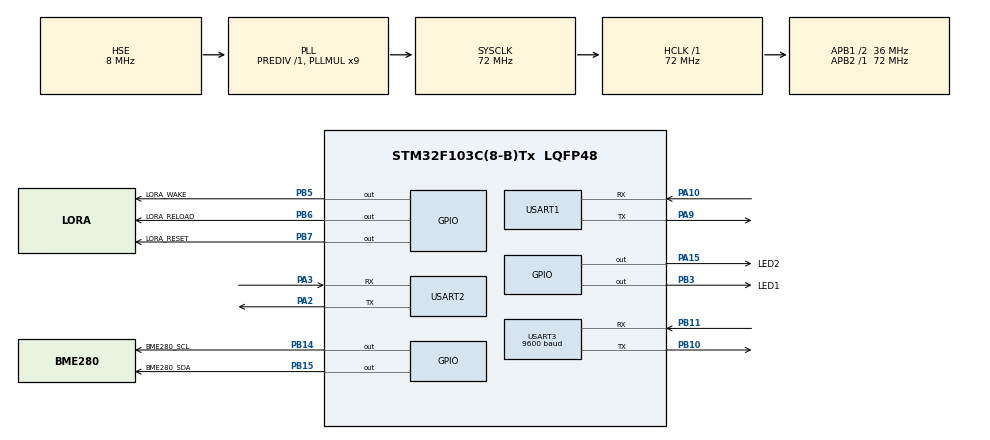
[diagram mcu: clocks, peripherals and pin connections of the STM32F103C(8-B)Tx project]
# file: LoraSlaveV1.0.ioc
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FREERTOS.Tasks01=defaultTask,0,256,StartDefaultTask,Default,NULL,Static,defaultTaskStack,defaultTaskControl;LoRaTask,1,256,StartLoRaTask,Default,NULL,Static,loRaTaskStack,loRaTaskControl;DGUSTask,-2,128,StartDGUSTask,Default,NULL,Static,dgusTaskStack,dgusTaskControl;ModBusTask,1,256,StartModBusTask,Default,NULL,Static,modBusTaskStack,modBusTaskControl;BME280Task,-2,256,StartBME280Task,Default,NULL,Static,bme280TaskStack,bme280TaskControl
Mcu.Family=STM32F1
Mcu.Name=STM32F103C(8-B)Tx
Mcu.Package=LQFP48
NVIC.PriorityGroup=NVIC_PRIORITYGROUP_4
NVIC.TIM1_UP_IRQn=true\:15\:0\:false\:false\:true\:false\:false\:true\:true
NVIC.TIM2_IRQn=true\:5\:0\:false\:false\:true\:true\:true\:true\:true
NVIC.TIM4_IRQn=true\:5\:0\:false\:false\:true\:true\:true\:true\:true
NVIC.TimeBase=TIM1_UP_IRQn
NVIC.TimeBaseIP=TIM1
NVIC.USART1_IRQn=true\:5\:0\:false\:false\:true\:true\:true\:true\:true
NVIC.USART2_IRQn=true\:5\:0\:false\:false\:true\:true\:true\:true\:true
NVIC.USART3_IRQn=true\:5\:0\:false\:false\:true\:true\:true\:true\:true
PA10.Mode=Asynchronous
PA10.Signal=USART1_RX
PA13.Mode=Serial_Wire
PA13.Signal=SYS_JTMS-SWDIO
PA14.Mode=Serial_Wire
PA14.Signal=SYS_JTCK-SWCLK
PA15.GPIO_Label=LED2
PA15.GPIO_ModeDefaultOutputPP=GPIO_MODE_OUTPUT_PP
PA15.GPIO_PuPd=GPIO_NOPULL
PA15.GPIO_Speed=GPIO_SPEED_FREQ_LOW
PA15.PinState=GPIO_PIN_SET
PA15.Signal=GPIO_Output
PA2.Mode=Asynchronous
PA2.Signal=USART2_TX
PA3.Mode=Asynchronous
PA3.Signal=USART2_RX
PA9.Mode=Asynchronous
PA9.Signal=USART1_TX
PB10.Mode=Asynchronous
PB10.Signal=USART3_TX
PB11.Mode=Asynchronous
PB11.Signal=USART3_RX
PB14.GPIO_Label=BME280_SCL
PB14.GPIO_ModeDefaultOutputPP=GPIO_MODE_OUTPUT_OD
PB14.GPIO_PuPd=GPIO_NOPULL
PB14.GPIO_Speed=GPIO_SPEED_FREQ_HIGH
PB14.PinState=GPIO_PIN_SET
PB14.Signal=GPIO_Output
PB15.GPIO_Label=BME280_SDA
PB15.GPIO_ModeDefaultOutputPP=GPIO_MODE_OUTPUT_OD
PB15.GPIO_PuPd=GPIO_NOPULL
PB15.GPIO_Speed=GPIO_SPEED_FREQ_HIGH
PB15.PinState=GPIO_PIN_SET
PB15.Signal=GPIO_Output
PB3.GPIO_Label=LED1
PB3.GPIO_ModeDefaultOutputPP=GPIO_MODE_OUTPUT_PP
PB3.GPIO_PuPd=GPIO_NOPULL
PB3.GPIO_Speed=GPIO_SPEED_FREQ_LOW
PB3.PinState=GPIO_PIN_SET
PB3.Signal=GPIO_Output
PB5.GPIO_Label=LORA_WAKE
PB5.GPIO_ModeDefaultOutputPP=GPIO_MODE_OUTPUT_OD
PB5.GPIO_PuPd=GPIO_NOPULL
PB5.GPIO_Speed=GPIO_SPEED_FREQ_HIGH
PB5.PinState=GPIO_PIN_SET
PB5.Signal=GPIO_Output
PB6.GPIO_Label=LORA_RELOAD
PB6.GPIO_ModeDefaultOutputPP=GPIO_MODE_OUTPUT_OD
PB6.GPIO_PuPd=GPIO_NOPULL
PB6.GPIO_Speed=GPIO_SPEED_FREQ_HIGH
PB6.PinState=GPIO_PIN_SET
PB6.Signal=GPIO_Output
PB7.GPIO_Label=LORA_RESET
PB7.GPIO_ModeDefaultOutputPP=GPIO_MODE_OUTPUT_OD
PB7.GPIO_PuPd=GPIO_NOPULL
PB7.GPIO_Speed=GPIO_SPEED_FREQ_HIGH
PB7.PinState=GPIO_PIN_SET
PB7.Signal=GPIO_Output
PD0-OSC_IN.Mode=HSE-External-Oscillator
PD0-OSC_IN.Signal=RCC_OSC_IN
PD1-OSC_OUT.Mode=HSE-External-Oscillator
PD1-OSC_OUT.Signal=RCC_OSC_OUT
ProjectManager.HeapSize=0x200
ProjectManager.StackSize=0x400
ProjectManager.TargetToolchain=MDK-ARM V5.32
RCC.AHBFreq_Value=72000000
RCC.APB1CLKDivider=RCC_HCLK_DIV2
RCC.APB1Freq_Value=36000000
RCC.APB1TimFreq_Value=72000000
RCC.APB2Freq_Value=72000000
RCC.APB2TimFreq_Value=72000000
RCC.HCLKFreq_Value=72000000
RCC.PLLMUL=RCC_PLL_MUL9
RCC.PLLSourceVirtual=RCC_PLLSOURCE_HSE
RCC.SYSCLKFreq_VALUE=72000000
RCC.SYSCLKSource=RCC_SYSCLKSOURCE_PLLCLK
RCC.USBFreq_Value=72000000
TIM2.Period=5000-1
TIM2.Prescaler=7200-1
TIM4.AutoReloadPreload=TIM_AUTORELOAD_PRELOAD_DISABLE
TIM4.Period=1000-1
TIM4.Prescaler=72-1
USART1.VirtualMode=VM_ASYNC
USART1.WordLength=WORDLENGTH_8B
USART2.VirtualMode=VM_ASYNC
USART2.WordLength=WORDLENGTH_8B
USART3.BaudRate=9600
USART3.VirtualMode=VM_ASYNC
VP_FREERTOS_VS_CMSIS_V1.Mode=CMSIS_V1
VP_SYS_VS_tim1.Mode=TIM1
VP_TIM2_VS_ClockSourceINT.Mode=Internal
VP_TIM4_VS_ClockSourceINT.Mode=Internal
board=custom

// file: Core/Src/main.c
/* USER CODE BEGIN Header */
/**
  ******************************************************************************
  * @file           : main.c
  * @brief          : Main program body
  ******************************************************************************
  * @attention
  *
  * Copyright (c) 2024 STMicroelectronics.
  * All rights reserved.
  *
  * This software is licensed under terms that can be found in the LICENSE file
  * in the root directory of this software component.
  * If no LICENSE file comes with this software, it is provided AS-IS.
  *
  ******************************************************************************
  */
/* USER CODE END Header */
#include "main.h"
#include "cmsis_os.h"
#include "tim.h"
#include "usart.h"
#include "gpio.h"

/* USER CODE BEGIN Includes */
#include "stdio.h"
#include "string.h"
#include "lora.h"
#include "DGUS.h"
#include "master_identity.h"
/* USER CODE END Includes */

/* USER CODE BEGIN PV */
uint8_t uart3_rx_data;  /* 串口 3 接收数据变量 */

/* USER CODE END PV */

void SystemClock_Config(void);
void MX_FREERTOS_Init(void);

int main(void)
{

  /* MCU Configuration--------------------------------------------------------*/

  /* Reset of all peripherals, Initializes the Flash interface and the Systick. */
  HAL_Init();

  /* Configure the system clock */
  SystemClock_Config();

  /* Initialize all configured peripherals */
  MX_GPIO_Init();
  MX_TIM4_Init();
  MX_TIM2_Init();
  MX_USART1_UART_Init();
  MX_USART2_UART_Init();
  MX_USART3_UART_Init();
  /* USER CODE BEGIN 2 */
  HAL_UART_Receive_IT(&huart3,&uart3_rx_data,1);    // 开启串口3接受中断——RS485
  HAL_UART_Receive_IT(&huart2,&rx2_data,1);   // uart2 接受中断开启——LoRa
  HAL_UART_Receive_IT(&huart1,&rx1_data,1);   // uart1 接收中断——串口屏

  led1_off();
  led2_off();
  /* 当前联调固定为 M1；拨码组号功能待 M1 链路跑通后再恢复。 */
  MasterIdentity_Init(1U);
  LORA_Init();      // LORA 参数初始化
  /* USER CODE END 2 */

  /* Call init function for freertos objects (in cmsis_os2.c) */
  MX_FREERTOS_Init();

  /* Start scheduler */
  osKernelStart();

  /* We should never get here as control is now taken by the scheduler */

  /* Infinite loop */
  while (1)
  {

  }
}

void SystemClock_Config(void)
{
  RCC_OscInitTypeDef RCC_OscInitStruct = {0};
  RCC_ClkInitTypeDef RCC_ClkInitStruct = {0};

  /** Initializes the RCC Oscillators according to the specified parameters
  * in the RCC_OscInitTypeDef structure.
  */
  RCC_OscInitStruct.OscillatorType = RCC_OSCILLATORTYPE_HSE;
  RCC_OscInitStruct.HSEState = RCC_HSE_ON;
  RCC_OscInitStruct.HSEPredivValue = RCC_HSE_PREDIV_DIV1;
  RCC_OscInitStruct.HSIState = RCC_HSI_ON;
  RCC_OscInitStruct.PLL.PLLState = RCC_PLL_ON;
  RCC_OscInitStruct.PLL.PLLSource = RCC_PLLSOURCE_HSE;
  RCC_OscInitStruct.PLL.PLLMUL = RCC_PLL_MUL9;
  if (HAL_RCC_OscConfig(&RCC_OscInitStruct) != HAL_OK)
  {
    Error_Handler();
  }

  /** Initializes the CPU, AHB and APB buses clocks
  */
  RCC_ClkInitStruct.ClockType = RCC_CLOCKTYPE_HCLK|RCC_CLOCKTYPE_SYSCLK
                              |RCC_CLOCKTYPE_PCLK1|RCC_CLOCKTYPE_PCLK2;
  RCC_ClkInitStruct.SYSCLKSource = RCC_SYSCLKSOURCE_PLLCLK;
  RCC_ClkInitStruct.AHBCLKDivider = RCC_SYSCLK_DIV1;
  RCC_ClkInitStruct.APB1CLKDivider = RCC_HCLK_DIV2;
  RCC_ClkInitStruct.APB2CLKDivider = RCC_HCLK_DIV1;

  if (HAL_RCC_ClockConfig(&RCC_ClkInitStruct, FLASH_LATENCY_2) != HAL_OK)
  {
    Error_Handler();
  }
}

void HAL_TIM_PeriodElapsedCallback(TIM_HandleTypeDef *htim)
{
  if (htim->Instance == TIM1) {
    HAL_IncTick();
  }
}

void Error_Handler(void)
{
  __disable_irq();
  while (1)
  {
  }
}

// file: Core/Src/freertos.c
/* USER CODE BEGIN Header */
/**
  ******************************************************************************
  * File Name          : freertos.c
  * Description        : Code for freertos applications
  ******************************************************************************
  * @attention
  *
  * Copyright (c) 2025 STMicroelectronics.
  * All rights reserved.
  *
  * This software is licensed under terms that can be found in the LICENSE file
  * in the root directory of this software component.
  * If no LICENSE file comes with this software, it is provided AS-IS.
  *
  ******************************************************************************
  */
/* USER CODE END Header */

#include "FreeRTOS.h"
#include "task.h"
#include "main.h"
#include "cmsis_os.h"

/* USER CODE BEGIN Includes */
#include "stdio.h"
#include "string.h"
#include "lora.h"
#include "modbus_async.h"
#include "DGUS.h"
#include "master_queues.h"
#include "master_runtime.h"
#include "BME280.h"
#include "rain_monitor.h"

/* USER CODE END Includes */

/* USER CODE BEGIN Variables */
static uint32_t defaultTaskStack[256];
static osStaticThreadDef_t defaultTaskControl;
static uint32_t loRaTaskStack[256];
static osStaticThreadDef_t loRaTaskControl;
static uint32_t dgusTaskStack[128];
static osStaticThreadDef_t dgusTaskControl;
static uint32_t modBusTaskStack[256];
static osStaticThreadDef_t modBusTaskControl;
static uint32_t bme280TaskStack[256];
static osStaticThreadDef_t bme280TaskControl;
static RainMonitor rain_monitor;

/* USER CODE END Variables */
osThreadId defaultTaskHandle;
osThreadId LoRaTaskHandle;
osThreadId DGUSTaskHandle;
osThreadId ModBusTaskHandle;
osThreadId BME280TaskHandle;

void StartDefaultTask(void const * argument);
void StartLoRaTask(void const * argument);
void StartDGUSTask(void const * argument);
void StartModBusTask(void const * argument);
void StartBME280Task(void const * argument);

void MX_FREERTOS_Init(void); /* (MISRA C 2004 rule 8.1) */

/* GetIdleTaskMemory prototype (linked to static allocation support) */
void vApplicationGetIdleTaskMemory( StaticTask_t **ppxIdleTaskTCBBuffer, StackType_t **ppxIdleTaskStackBuffer, uint32_t *pulIdleTaskStackSize );

/* USER CODE BEGIN GET_IDLE_TASK_MEMORY */
static StaticTask_t xIdleTaskTCBBuffer;
static StackType_t xIdleStack[configMINIMAL_STACK_SIZE];

void vApplicationGetIdleTaskMemory( StaticTask_t **ppxIdleTaskTCBBuffer, StackType_t **ppxIdleTaskStackBuffer, uint32_t *pulIdleTaskStackSize )
{
  *ppxIdleTaskTCBBuffer = &xIdleTaskTCBBuffer;
  *ppxIdleTaskStackBuffer = &xIdleStack[0];
  *pulIdleTaskStackSize = configMINIMAL_STACK_SIZE;
  /* place for user code */
}
/* USER CODE END GET_IDLE_TASK_MEMORY */

void MX_FREERTOS_Init(void) {

  /* USER CODE BEGIN RTOS_QUEUES */
  if (MasterQueues_Init() == 0U)
  {
    Error_Handler();
  }
  /* USER CODE END RTOS_QUEUES */

  /* Create the thread(s) */
  /* definition and creation of defaultTask */
  osThreadStaticDef(defaultTask, StartDefaultTask, osPriorityNormal, 0, 256,
                    defaultTaskStack, &defaultTaskControl);
  defaultTaskHandle = osThreadCreate(osThread(defaultTask), NULL);

  /* definition and creation of LoRaTask */
  osThreadStaticDef(LoRaTask, StartLoRaTask, osPriorityAboveNormal, 0, 256,
                    loRaTaskStack, &loRaTaskControl);
  LoRaTaskHandle = osThreadCreate(osThread(LoRaTask), NULL);

  /* definition and creation of DGUSTask */
  osThreadStaticDef(DGUSTask, StartDGUSTask, osPriorityLow, 0, 128,
                    dgusTaskStack, &dgusTaskControl);
  DGUSTaskHandle = osThreadCreate(osThread(DGUSTask), NULL);

  /* definition and creation of ModBusTask */
  osThreadStaticDef(ModBusTask, StartModBusTask, osPriorityAboveNormal, 0, 256,
                    modBusTaskStack, &modBusTaskControl);
  ModBusTaskHandle = osThreadCreate(osThread(ModBusTask), NULL);

  /* definition and creation of BME280Task */
  osThreadStaticDef(BME280Task, StartBME280Task, osPriorityLow, 0, 256,
                    bme280TaskStack, &bme280TaskControl);
  BME280TaskHandle = osThreadCreate(osThread(BME280Task), NULL);

  if ((defaultTaskHandle == NULL) || (LoRaTaskHandle == NULL) ||
      (DGUSTaskHandle == NULL) || (ModBusTaskHandle == NULL) ||
      (BME280TaskHandle == NULL))
  {
    Error_Handler();
  }

  /* USER CODE BEGIN RTOS_THREADS */
  /* add threads, ... */
  /* USER CODE END RTOS_THREADS 1 */

}

void StartDefaultTask(void const * argument)
{
  /* USER CODE BEGIN StartDefaultTask */
  MasterRuntime_Init();
  RainMonitor_Init(&rain_monitor,
                   (HAL_GPIO_ReadPin(RAIN_DO_GPIO_Port, RAIN_DO_Pin) == GPIO_PIN_RESET) ? 1U : 0U,
                   HAL_GetTick());
  MasterRuntime_SetRainDetected(RainMonitor_IsRaining(&rain_monitor));

  /* Infinite loop */
  for(;;)
  {
    RainMonitor_Update(&rain_monitor,
                       (HAL_GPIO_ReadPin(RAIN_DO_GPIO_Port, RAIN_DO_Pin) == GPIO_PIN_RESET) ? 1U : 0U,
                       HAL_GetTick());
    MasterRuntime_SetRainDetected(RainMonitor_IsRaining(&rain_monitor));
    MasterRuntime_ProcessOne(HAL_GetTick(), pdMS_TO_TICKS(10U));
  }
  /* USER CODE END StartDefaultTask */
}

/* USER CODE BEGIN Header_StartLoRaTask */
/**
* @brief 任务1：lora 点对点通讯接受处理 —— 通风条件判断与执行。
         任务2：DGUS 触摸数据应答
         执行周期：1ms
* @param argument: Not used
* @retval None
*/
/* USER CODE END Header_StartLoRaTask */
void StartLoRaTask(void const * argument)
{
  /* USER CODE BEGIN StartLoRaTask */
  /* ===== 测试模式（暂时注释，调试主从通信期间关闭）===== */
#if 0
  /* 测试模式：不依赖从机数据，上电即发正转 30Hz，20s 后减速停止，每 100ms 发一次 */
  uint32_t tick_ms = 0U;       /* 上电累计毫秒（任务周期 1ms） */
  uint32_t last_send_ms = 0U;  /* 上次发送命令的时刻 */
#endif

  /* Infinite loop */
  for(;;)
  {
    /* lora 点对点通讯接受处理 —— 通风条件判断与执行 */
    LoraP2PRX();
    LoraP2PTX();

    /* ===== 测试模式（暂时注释）===== */
#if 0
    /* 每 100ms 发一次 Modbus 命令 */
    tick_ms++;
    if ((tick_ms - last_send_ms) >= 100U)
    {
      last_send_ms = tick_ms;
      if (tick_ms < 20000U)              /* 前 20 秒：正转 */
      {
        ModbusTxVfdCmd(modbuswrite_RunFwd, VFD_TARGET_FREQ_X100);
      }
      else                                /* 20 秒后：减速停止 */
      {
        ModbusTxVfdCmd(modbuswrite_StopDec, VFD_TARGET_FREQ_X100);
      }
    }
#endif

    /* 避免同优先级任务被无延迟轮询长期挤占。 */
    osDelay(1);
  }
  /* USER CODE END StartLoRaTask */
}

/* USER CODE BEGIN Header_StartDGUSTask */
/**
* @brief 任务：更新 DGUS 的环境数据
         执行周期：5s
* @param argument: Not used
* @retval None
*/
/* USER CODE END Header_StartDGUSTask */
void StartDGUSTask(void const * argument)
{
  /* USER CODE BEGIN StartDGUSTask */
  static MasterUiSnapshot ui_snapshot;
  static MasterEvent dgus_event;
  uint32_t last_update_tick = HAL_GetTick() - 1000U;
  uint32_t last_curve_tick = HAL_GetTick() - 10U;
  uint32_t last_screen_refresh_tick = HAL_GetTick() - 2000U;
  uint32_t boot_tick = HAL_GetTick();
  static uint8_t temperature_sent;
  static uint8_t humidity_sent;
  static uint8_t master_temperature_sent;
  static uint8_t master_humidity_sent;
  static uint8_t slave_pressure_sent;
  static uint8_t master_pressure_sent;
  static uint8_t fan_state_sent;
  static int16_t last_temperature_x10;
  static uint16_t last_humidity_x10;
  static int16_t last_master_temperature_x10;
  static uint16_t last_master_humidity_x10;
  static uint16_t last_slave_pressure_hpa;
  static uint16_t last_master_pressure_hpa;
  static uint16_t last_fan_state;
  static uint32_t last_uptime_minute = 0xFFFFFFFFUL;
  static uint8_t initial_setpoint_read_requested;
  static uint32_t applied_remote_temperature_generation;
  /* Infinite loop */
  for(;;)
  {
    DGUSReceivedWrite dgus_write;

    /* USART1 is owned by this task: receive 0x83 writes before transmitting. */
    DGUS_ProcessRx();
    while (DGUS_TakeReceivedWrite(&dgus_write) != 0U)
    {
      memset(&dgus_event, 0, sizeof(dgus_event));
      dgus_event.type = MASTER_EVENT_DGUS_WRITE;
      dgus_event.data.dgus_write.address = dgus_write.address;
      dgus_event.data.dgus_write.value = dgus_write.value;
      (void)MasterQueues_SendEvent(&dgus_event, pdMS_TO_TICKS(20U));
    }

    /* Curve inputs must be refreshed even when a sample has not changed.
       0x1000/0x1800 are independent DGUS VPs, so they require two frames. */
    if ((uint32_t)(HAL_GetTick() - last_curve_tick) >= 10U)
    {
      last_curve_tick = HAL_GetTick();
      if (MasterQueues_PeekUi(&ui_snapshot) == pdPASS)
      {
        if (ui_snapshot.temperature_valid != 0U)
        {
          int32_t curve_temperature =
              (int32_t)ui_snapshot.average_temperature_x10 + 500L;

          /* Curve scale: -50.0..50.0 C maps to 0..1000. */
          if ((curve_temperature >= 0L) && (curve_temperature <= 1000L))
          {
            (void)DGUS_WriteSingleData(DGUS_VP_TEMPERATURE_CURVE,
                                       (uint16_t)curve_temperature);
          }
        }
        if (ui_snapshot.humidity_valid != 0U)
        {
          uint16_t curve_humidity =
              (uint16_t)(ui_snapshot.average_humidity_x10 * 10U);

          /* Curve scale: 0.0..100.0 %RH maps to 0..10000. */
          (void)DGUS_WriteSingleData(DGUS_VP_HUMIDITY_CURVE,
                                     curve_humidity);
        }
      }
    }

    if ((uint32_t)(HAL_GetTick() - last_update_tick) >= 1000U)
    {
      uint32_t now_tick = HAL_GetTick();
      last_update_tick = now_tick;
      if (MasterQueues_PeekUi(&ui_snapshot) == pdPASS)
      {
        uint8_t uptime_ascii[16];
        uint32_t elapsed_minutes = (uint32_t)(now_tick - boot_tick) / 60000U;
        uint32_t minutes = elapsed_minutes;
        uint32_t years;
        uint8_t months;
        uint8_t days;
        uint8_t hours;
        uint8_t minute_of_hour;

        /* Re-send only real-time status.  Editable screen fields must not be
           periodically overwritten while an operator is entering a value. */
        if ((uint32_t)(now_tick - last_screen_refresh_tick) >= 2000U)
        {
          last_screen_refresh_tick = now_tick;
          temperature_sent = 0U;
          humidity_sent = 0U;
          master_temperature_sent = 0U;
          master_humidity_sent = 0U;
          slave_pressure_sent = 0U;
          master_pressure_sent = 0U;
          fan_state_sent = 0U;
          last_uptime_minute = 0xFFFFFFFFUL;
        }

        minute_of_hour = (uint8_t)(minutes % 60U); minutes /= 60U;
        hours = (uint8_t)(minutes % 24U); minutes /= 24U;
        days = (uint8_t)(minutes % 30U); minutes /= 30U;
        months = (uint8_t)(minutes % 12U); minutes /= 12U;
        years = minutes;
        uptime_ascii[0] = (uint8_t)('0' + ((years / 1000U) % 10U));
        uptime_ascii[1] = (uint8_t)('0' + ((years / 100U) % 10U));
        uptime_ascii[2] = (uint8_t)('0' + ((years / 10U) % 10U));
        uptime_ascii[3] = (uint8_t)('0' + (years % 10U));
        uptime_ascii[4] = (uint8_t)'-';
        uptime_ascii[5] = (uint8_t)('0' + (months / 10U));
        uptime_ascii[6] = (uint8_t)('0' + (months % 10U));
        uptime_ascii[7] = (uint8_t)'-';
        uptime_ascii[8] = (uint8_t)('0' + (days / 10U));
        uptime_ascii[9] = (uint8_t)('0' + (days % 10U));
        uptime_ascii[10] = (uint8_t)'-';
        uptime_ascii[11] = (uint8_t)('0' + (hours / 10U));
        uptime_ascii[12] = (uint8_t)('0' + (hours % 10U));
        uptime_ascii[13] = (uint8_t)':';
        uptime_ascii[14] = (uint8_t)('0' + (minute_of_hour / 10U));
        uptime_ascii[15] = (uint8_t)('0' + (minute_of_hour % 10U));

        /* BME280 values physically connected to the master itself. */
        if ((ui_snapshot.environment_valid != 0U) &&
            ((master_temperature_sent == 0U) ||
             (last_master_temperature_x10 !=
              ui_snapshot.environment_temperature_x10)))
        {
          if (DGUS_WriteSingleData(DGUS_VP_MASTER_TEMPERATURE,
              (uint16_t)ui_snapshot.environment_temperature_x10) != 0U)
          {
            last_master_temperature_x10 =
              ui_snapshot.environment_temperature_x10;
            master_temperature_sent = 1U;
          }
        }
        if ((ui_snapshot.environment_valid != 0U) &&
            ((master_humidity_sent == 0U) ||
             (last_master_humidity_x10 !=
              ui_snapshot.environment_humidity_x10)))
        {
          if (DGUS_WriteSingleData(DGUS_VP_MASTER_HUMIDITY,
              ui_snapshot.environment_humidity_x10) != 0U)
          {
            last_master_humidity_x10 = ui_snapshot.environment_humidity_x10;
            master_humidity_sent = 1U;
          }
        }
        /* Pressure is received as Pa but a DGUS VP is one 16-bit word.
           Publish hPa (Pa / 100): normal atmospheric pressure is 1013. */
        if (ui_snapshot.slave_environment_pressure_valid != 0U)
        {
          uint16_t pressure_hpa =
              (uint16_t)(ui_snapshot.slave_environment_pressure_pa / 100UL);
          if ((slave_pressure_sent == 0U) ||
              (last_slave_pressure_hpa != pressure_hpa))
          {
            if (DGUS_WriteSingleData(DGUS_VP_SLAVE_PRESSURE,
                                     pressure_hpa) != 0U)
            {
              last_slave_pressure_hpa = pressure_hpa;
              slave_pressure_sent = 1U;
            }
          }
        }
        if (ui_snapshot.environment_valid != 0U)
        {
          uint16_t pressure_hpa =
              (uint16_t)(ui_snapshot.environment_pressure_pa / 100UL);
          if ((master_pressure_sent == 0U) ||
              (last_master_pressure_hpa != pressure_hpa))
          {
            if (DGUS_WriteSingleData(DGUS_VP_MASTER_PRESSURE,
                                     pressure_hpa) != 0U)
            {
              last_master_pressure_hpa = pressure_hpa;
              master_pressure_sent = 1U;
            }
          }
        }

        if ((ui_snapshot.temperature_valid != 0U) &&
            ((temperature_sent == 0U) ||
             (last_temperature_x10 != ui_snapshot.average_temperature_x10)))
        {
          if (DGUS_WriteSingleData(DGUS_VP_AVERAGE_TEMPERATURE,
                                   ui_snapshot.average_temperature_x10) != 0U)
          {
            last_temperature_x10 = ui_snapshot.average_temperature_x10;
            temperature_sent = 1U;
          }
        }
        if ((ui_snapshot.humidity_valid != 0U) &&
            ((humidity_sent == 0U) ||
             (last_humidity_x10 != ui_snapshot.average_humidity_x10)))
        {
          if (DGUS_WriteSingleData(DGUS_VP_AVERAGE_HUMIDITY,
                                   ui_snapshot.average_humidity_x10) != 0U)
          {
            last_humidity_x10 = ui_snapshot.average_humidity_x10;
            humidity_sent = 1U;
          }
        }

        /* Only a successfully accepted upper-computer command owns this
           one-shot write.  Screen-originated edits are never echoed back. */
        if (applied_remote_temperature_generation !=
            ui_snapshot.target_temperature_screen_generation)
        {
          if (DGUS_WriteSingleData(DGUS_VP_TARGET_TEMPERATURE,
                                   (uint16_t)ui_snapshot.target_temperature_x10) != 0U)
          {
            applied_remote_temperature_generation =
                ui_snapshot.target_temperature_screen_generation;
          }
        }
        if ((initial_setpoint_read_requested == 0U) &&
            (ui_snapshot.target_temperature_screen_generation == 0U) &&
            ((uint32_t)(now_tick - boot_tick) >= 2000U))
        {
          /* 0x5013 and 0x5014 are consecutive.  The reply is passed to the
             runtime through the same 0x83 path as an operator edit. */
          if (DGUS_ReadWords(DGUS_VP_TARGET_TEMPERATURE, 2U) != 0U)
          {
            initial_setpoint_read_requested = 1U;
          }
        }
        if (last_uptime_minute != elapsed_minutes)
        {
          if (DGUS_WriteAscii(DGUS_VP_UPTIME, uptime_ascii,
                              (uint8_t)sizeof(uptime_ascii)) != 0U)
          {
            last_uptime_minute = elapsed_minutes;
          }
        }
        /* The time VPs are ASCII text controls on this project.  Never write
           0x6070--0x6074 or 0x6090--0x6094 from the master. */
        if ((fan_state_sent == 0U) || (last_fan_state !=
            ((ui_snapshot.fan_state == MASTER_FAN_STATE_RUNNING) ? 1U : 0U)))
        {
          uint16_t fan_state = (ui_snapshot.fan_state == MASTER_FAN_STATE_RUNNING) ? 1U : 0U;

          if ((DGUS_WriteSingleData(DGUS_VP_FAN_ANIMATION, fan_state) != 0U) &&
              (DGUS_WriteSingleData(DGUS_VP_INDICATOR_ANIMATION, fan_state) != 0U))
          {
            last_fan_state = fan_state;
            fan_state_sent = 1U;
          }
        }
      }
    }
    osDelay(10);
  }
  /* USER CODE END StartDGUSTask */
}

/* USER CODE BEGIN Header_StartModBusTask */
/**
* @brief 任务：处理 Modbus 接收数据；更新LED1—通风开启标志（亮-通风状态开，灭-通风状态关）
         执行周期：1s
* @param argument: Not used
* @retval None
*/
/* USER CODE END Header_StartModBusTask */
void StartModBusTask(void const * argument)
{
  /* USER CODE BEGIN StartModBusTask */
  static VfdJob job;
  static VfdResult result;
  static MasterEvent event;
  static uint8_t adapter_result_pending;

  VfdModbus_Init();
  /* Infinite loop */
  for(;;)
  {
    VfdModbus_Process(HAL_GetTick(), MasterRuntime_GetControlEpoch());

    if (adapter_result_pending != 0U)
    {
      memset(&event, 0, sizeof(event));
      event.type = MASTER_EVENT_VFD_RESULT;
      event.data.vfd_result = result;
      if (MasterQueues_SendEvent(&event, 0U) == pdPASS)
      {
        adapter_result_pending = 0U;
      }
    }
    else if (VfdModbus_PeekResult(&result) != 0U)
    {
      memset(&event, 0, sizeof(event));
      event.type = MASTER_EVENT_VFD_RESULT;
      event.data.vfd_result = result;
      if (MasterQueues_SendEvent(&event, 0U) == pdPASS)
      {
        VfdModbus_AcknowledgeResult();
      }
    }
    else if ((VfdModbus_IsIdle() != 0U) &&
             (MasterQueues_ReceiveVfdJob(&job, 0U) == pdPASS))
    {
      if (job.epoch != MasterRuntime_GetControlEpoch())
      {
        memset(&result, 0, sizeof(result));
        result.flow_id = job.flow_id;
        result.frequency_x100 = job.frequency_x100;
        result.action = job.action;
        result.epoch = job.epoch;
        result.request_type = job.request_type;
        result.origin = job.origin;
        result.code = VFD_RESULT_CANCELED;
        adapter_result_pending = 1U;
      }
      else if (VfdModbus_Start(&job, HAL_GetTick()) !=
               VFD_MODBUS_START_ACCEPTED)
      {
        memset(&result, 0, sizeof(result));
        result.flow_id = job.flow_id;
        result.frequency_x100 = job.frequency_x100;
        result.action = job.action;
        result.epoch = job.epoch;
        result.request_type = job.request_type;
        result.origin = job.origin;
        result.code = VFD_RESULT_TX_ERROR;
        adapter_result_pending = 1U;
      }
    }

    osDelay(1);
  }
  /* USER CODE END StartModBusTask */
}

/* USER CODE BEGIN Header_StartBME280Task */
/**
* @brief BME280 environment sampling task. PB14=SCL, PB15=SDA.
* @param argument: Not used
* @retval None
*/
/* USER CODE END Header_StartBME280Task */
void StartBME280Task(void const * argument)
{
  /* USER CODE BEGIN StartBME280Task */
  BME280_HandleTypeDef sensor;
  BME280_Data sensor_data;
  MasterEnvironmentSample sample;
  BME280_Status status;
  uint32_t measurement_delay_ms;

  (void)argument;
  memset(&sensor, 0, sizeof(sensor));
  memset(&sensor_data, 0, sizeof(sensor_data));
  memset(&sample, 0, sizeof(sample));

  for(;;)
  {
    status = BME280_Init(&sensor);
    if (status == BME280_OK)
    {
      status = BME280_Config(&sensor,
                             BME280_OVERSAMPLING_X1,
                             BME280_OVERSAMPLING_X1,
                             BME280_OVERSAMPLING_X1,
                             BME280_FILTER_OFF);
    }

    if (status != BME280_OK)
    {
      sample.valid = 0U;
      sample.error_code = (uint8_t)status;
      sample.sample_tick = HAL_GetTick();
      (void)MasterQueues_OverwriteEnvironment(&sample);
      osDelay(1000U);
      continue;
    }

    measurement_delay_ms = BME280_GetMeasurementDelayMs(&sensor);
    for(;;)
    {
      status = BME280_TriggerMeasurement(&sensor);
      if (status == BME280_OK)
      {
        osDelay(measurement_delay_ms);
        status = BME280_ReadMeasurement(&sensor, &sensor_data);
      }

      memset(&sample, 0, sizeof(sample));
      sample.sample_tick = HAL_GetTick();
      sample.error_code = (uint8_t)status;
      if ((status == BME280_OK) &&
          (sensor_data.temperature_x100 >= -4000) &&
          (sensor_data.temperature_x100 <= 8500) &&
          (sensor_data.humidity_x1024 <= 102400U) &&
          (sensor_data.pressure_pa >= 30000U) &&
          (sensor_data.pressure_pa <= 110000U))
      {
        if (sensor_data.temperature_x100 >= 0)
        {
          sample.temperature_x10 =
              (int16_t)((sensor_data.temperature_x100 + 5) / 10);
        }
        else
        {
          sample.temperature_x10 =
              (int16_t)((sensor_data.temperature_x100 - 5) / 10);
        }
        sample.humidity_x10 = (uint16_t)(
            (sensor_data.humidity_x1024 * 10U + 512U) / 1024U);
        sample.pressure_pa = sensor_data.pressure_pa;
        sample.valid = 1U;
      }
      else
      {
        sample.valid = 0U;
        if (status == BME280_OK)
        {
          sample.error_code = (uint8_t)BME280_ERROR_NOT_READY;
        }
      }
      (void)MasterQueues_OverwriteEnvironment(&sample);

      if (sample.valid == 0U)
      {
        osDelay(1000U);
        break;
      }
      osDelay(1000U);
    }
  }
  /* USER CODE END StartBME280Task */
}
